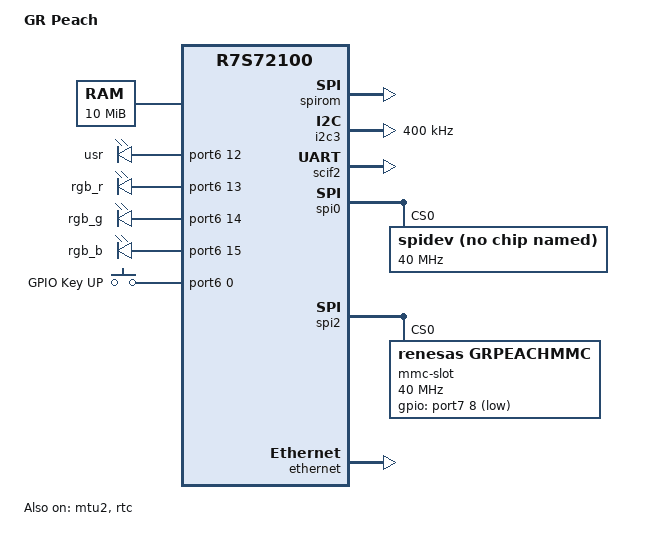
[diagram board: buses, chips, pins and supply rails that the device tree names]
/*
 * Device Tree Source for the Genmai board
 *
 * Copyright (C) 2013-14 Renesas Solutions Corp.
 * Copyright (C) 2014 Wolfram Sang, Sang Engineering <wsa@sang-engineering.com>
 *
 * This file is licensed under the terms of the GNU General Public License
 * version 2.  This program is licensed "as is" without any warranty of any
 * kind, whether express or implied.
 */

/dts-v1/;
#include <dt-bindings/gpio/gpio.h>
#include "r7s72100.dtsi"

/ {
	model = "GR Peach";
	compatible = "renesas,genmai", "renesas,r7s72100";

	aliases {
		serial2 = &scif2;
	};

	chosen {
		bootargs = "root=/dev/mtdblock4";
		stdout-path = &scif2;
	};

	memory {
		device_type = "memory";
		reg = <0x20000000 0xA00000>;
	};

	lbsc {
		#address-cells = <1>;
		#size-cells = <1>;
	};
	
	spirom: spirom@0 {
		#address-cells = <1>;
		#size-cells = <1>;
		compatible = "mtd-rom";
		reg = <0x18000000 0x800000>;
		bank-width = <4>;
		
		partition@0 {
			label = "u-boot";
			reg = <0x0000000 0x80000>;
			read-only;
		};
		
		partition@1 {
			label = "env";
			reg = <0x00080000 0x40000>;
			read-only;
		};
		
		partition@3 {
			label = "devicetree";
			reg = <0x000C0000 0x040000>;
			read-only;
		};
		
		partition@4 {
			label = "kernel";
			reg = <0x00100000 0x300000>;
			read-only;
		};
		
		partition@5 {
			label = "rootfs";
			reg = <0x00400000 0x400000>;
			read-only;
		};
	};
	
	leds {
		compatible = "gpio-leds";  
		usr {
		    label = "usr";
		    gpios = <&port6 12 0>;
		    linux,default-trigger = "heartbeat";
		    default-state = "off";
		};
		rgb_r {
		    label = "rgb_r";
		    gpios = <&port6 13 0>;
		    default-state = "off";
		};
		rgb_g {
		    label = "rgb_g";
		    gpios = <&port6 14 0>;
		    default-state = "off";
		};
		rgb_b {
		    label = "rgb_b";
		    gpios = <&port6 15 0>;
		    default-state = "off";
		};
	};
	
	
	gpio_keys_polled {
		compatible = "gpio-keys-polled";
		#address-cells = <1>;
       	#size-cells = <0>;
     	poll-interval = <100>;
     	autorepeat;
		button@21 {
			label = "GPIO Key UP";
			linux,code = <103>;
			gpios = <&port6 0 0>;
		};
	};
		
};

&extal_clk {
	clock-frequency = <13330000>;
};

&usb_x1_clk {
	clock-frequency = <48000000>;
};

&mtu2 {
	status = "okay";
};

&i2c3 {
	status = "okay";
	clock-frequency = <400000>;
	pinctrl-names = "default";
	pinctrl-0 = <&i2c3_pins>;
};

&scif2 {
	status = "okay";
};


&spi0 {
	status = "okay";
	pinctrl-names = "default";
	pinctrl-0 = <&spi0_pins>;
	spidev@0 {
		spi-max-frequency = <40000000>;
		reg = <0>;
		compatible = "linux,spidev";
	};
	/*spilcd@0{
		compatible = "ilitek,ili9341";
		reg = <0>;
		spi-max-frequency = <40000000>;
		rotate = <270>;
		bgr;
		buswidth = <8>;
		dc-gpios = <&port8 14 0>;
		reset-gpios = <&port8 15 0>;
	};*/
};

&spi2 {
	status = "okay";
	pinctrl-names = "default";
	pinctrl-0 = <&spi2_pins>;
	mmc-slot@0 {
		compatible = "renesas, grpeachmmc","mmc-spi-slot";
		reg = <0>;
		spi-max-frequency = <40000000>;
		gpios = <&port7 8 GPIO_ACTIVE_LOW>;
		voltage-ranges = <3300 3300>;
	};
};

&ethernet {
	status = "okay";
};

&rtc {
	status = "okay";
};

&pinctrl {
		adc_pins: adc {
		renesas,pins = <RZA1PFC_PIN(1,8) RZA1PFC_MODE_ALT1 RZA1PFC_DIIO_PBDC_EN>,	/* an0 */
						<RZA1PFC_PIN(1, 9) RZA1PFC_MODE_ALT1 RZA1PFC_DIIO_PBDC_EN>,	/* an1 */
						<RZA1PFC_PIN(1,10) RZA1PFC_MODE_ALT1 RZA1PFC_DIIO_PBDC_EN>,	/* an2 */
						<RZA1PFC_PIN(1,11) RZA1PFC_MODE_ALT1 RZA1PFC_DIIO_PBDC_EN>,	/* an3 */
						<RZA1PFC_PIN(1,13) RZA1PFC_MODE_ALT1 RZA1PFC_DIIO_PBDC_EN>,	/* an5 */
						<RZA1PFC_PIN(1,15) RZA1PFC_MODE_ALT1 RZA1PFC_DIIO_PBDC_EN>;	/* an7 */											
	};
};

&adc {
	pinctrl-names = "default";
	pinctrl-0 = <&adc_pins>;
};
